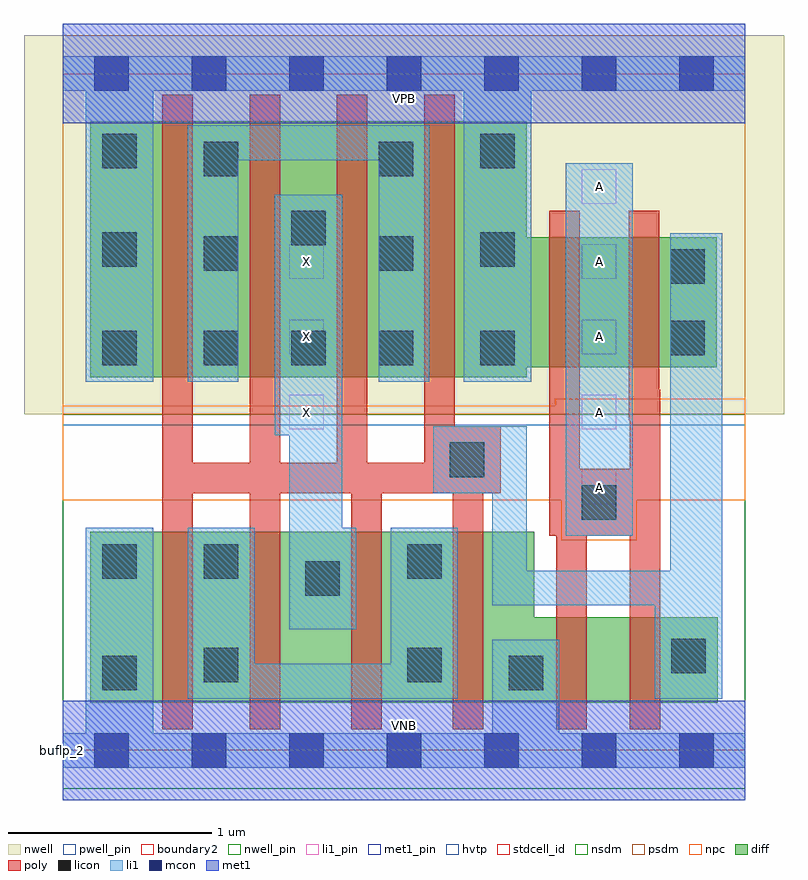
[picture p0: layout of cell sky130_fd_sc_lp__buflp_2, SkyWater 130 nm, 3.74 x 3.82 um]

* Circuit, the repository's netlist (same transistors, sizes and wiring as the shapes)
* Copyright 2020 The SkyWater PDK Authors
*
* Licensed under the Apache License, Version 2.0 (the "License");
* you may not use this file except in compliance with the License.
* You may obtain a copy of the License at
*
*     https://www.apache.org/licenses/LICENSE-2.0
*
* Unless required by applicable law or agreed to in writing, software
* distributed under the License is distributed on an "AS IS" BASIS,
* WITHOUT WARRANTIES OR CONDITIONS OF ANY KIND, either express or implied.
* See the License for the specific language governing permissions and
* limitations under the License.
*
* SPDX-License-Identifier: Apache-2.0

.SUBCKT sky130_fd_sc_lp__buflp_2 A VGND VNB VPB VPWR X
*.PININFO A:I VGND:I VNB:I VPB:I VPWR:I X:O
MMIN1 Ab A net27 VNB sky130_fd_pr__nfet_01v8 m=1 w=0.42U l=0.15U mult=1 sa=0.265
+ sb=0.265 sd=0.28 area=0.063 perim=1.14
MMIN2 X Ab net31 VNB sky130_fd_pr__nfet_01v8 m=2 w=0.84U l=0.15U mult=1 sa=0.265
+ sb=0.265 sd=0.28 area=0.063 perim=1.14
MI7 net27 A VGND VNB sky130_fd_pr__nfet_01v8 m=1 w=0.42U l=0.15U mult=1 sa=0.265
+ sb=0.265 sd=0.28 area=0.063 perim=1.14
MI6 net31 Ab VGND VNB sky130_fd_pr__nfet_01v8 m=2 w=0.84U l=0.15U mult=1 sa=0.265
+ sb=0.265 sd=0.28 area=0.063 perim=1.14
MMIP1 Ab A net43 VPB sky130_fd_pr__pfet_01v8_hvt m=1 w=0.64U l=0.15U mult=1 sa=0.265
+ sb=0.265 sd=0.28 area=0.063 perim=1.14
MMIP2 X Ab net36 VPB sky130_fd_pr__pfet_01v8_hvt m=2 w=1.26U l=0.15U mult=1 sa=0.265
+ sb=0.265 sd=0.28 area=0.063 perim=1.14
MI4 net43 A VPWR VPB sky130_fd_pr__pfet_01v8_hvt m=1 w=0.64U l=0.15U mult=1 sa=0.265
+ sb=0.265 sd=0.28 area=0.063 perim=1.14
MI5 net36 Ab VPWR VPB sky130_fd_pr__pfet_01v8_hvt m=2 w=1.26U l=0.15U mult=1 sa=0.265
+ sb=0.265 sd=0.28 area=0.063 perim=1.14
.ENDS sky130_fd_sc_lp__buflp_2

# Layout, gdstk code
import gdstk
lib = gdstk.Library(unit=1e-6, precision=1e-09)
def R(c, l, rs):  # rectangles x0, y0, x1, y1
    for r in rs: c.add(gdstk.rectangle(r[:2], r[2:], *l))
def A(c, l, x, y, w, h, nx, ny, dx, dy):  # array of equal rectangles
    R(c, l, [(x+i*dx, y+j*dy, x+i*dx+w, y+j*dy+h) for i in range(nx) for j in range(ny)])
def P(c, l, *ps):  # polygons
    for p in ps: c.add(gdstk.Polygon(p, *l))
nwell_pin = (64, 16)
nwell = (64, 20)
diff = (65, 20)
poly = (66, 20)
licon = (66, 44)
li1_pin = (67, 16)
li1 = (67, 20)
mcon = (67, 44)
met1_pin = (68, 16)
met1 = (68, 20)
hvtp = (78, 44)
stdcell_id = (81, 4)
nsdm = (93, 44)
psdm = (94, 20)
npc = (95, 20)
pwell_pin = (122, 16)
boundary2 = (236, 0)

sky130_fd_sc_lp__buflp_2 = lib.new_cell('sky130_fd_sc_lp__buflp_2')
R(sky130_fd_sc_lp__buflp_2, nwell_pin, [(0,3.085,3.36,3.33)])
R(sky130_fd_sc_lp__buflp_2, nwell, [(-0.19,1.655,3.55,3.52)])
P(sky130_fd_sc_lp__buflp_2, diff, [(3.22,2.525),(2.285,2.525),(2.285,3.095),(0.135,3.095),(0.135,1.835),(2.285,1.835),(2.285,1.885),(3.22,1.885)],
  [(3.225,0.655),(2.32,0.655),(2.32,1.075),(0.135,1.075),(0.135,0.235),(3.225,0.235)])
P(sky130_fd_sc_lp__buflp_2, poly, [(2.155,1.595),(1.93,1.595),(1.93,3.225),(1.78,3.225),(1.78,1.415),(1.5,1.415),(1.5,3.225),(1.35,3.225),(1.35,1.415),(1.07,1.415),(1.07,3.225),(0.92,3.225),(0.92,1.415),(0.64,1.415),(0.64,3.225),(0.49,3.225),(0.49,0.105),(0.64,0.105),(0.64,1.265),(0.92,1.265),(0.92,0.105),(1.07,0.105),(1.07,1.265),(1.42,1.265),(1.42,0.105),(1.57,0.105),(1.57,1.265),(1.92,1.265),(1.92,0.105),(2.07,0.105),(2.07,1.265),(2.155,1.265)],
  [(2.94,1.775),(2.935,1.775),(2.935,2.655),(2.785,2.655),(2.785,1.625),(2.79,1.625),(2.79,1.385),(2.545,1.385),(2.545,2.655),(2.395,2.655),(2.395,1.055),(2.43,1.055),(2.43,0.105),(2.58,0.105),(2.58,1.055),(2.79,1.055),(2.79,0.105),(2.94,0.105)])
A(sky130_fd_sc_lp__buflp_2, licon, 0.195, 1.895, 0.17, 0.17, 1, 3, 0, 0.485)
A(sky130_fd_sc_lp__buflp_2, licon, 0.695, 1.895, 0.17, 0.17, 3, 1, 0.43, 0)
A(sky130_fd_sc_lp__buflp_2, licon, 2.055, 1.895, 0.17, 0.17, 1, 3, 0, 0.485)
R(sky130_fd_sc_lp__buflp_2, licon, [(0.195,0.295,0.365,0.465), (2.195,0.295,2.365,0.465), (0.695,0.335,0.865,0.505), (1.695,0.335,1.865,0.505), (2.995,0.38,3.165,0.55), (1.195,0.76,1.365,0.93), (0.195,0.845,0.365,1.015), (0.695,0.845,0.865,1.015), (1.695,0.845,1.865,1.015), (2.555,1.135,2.725,1.305), (1.905,1.345,2.075,1.515), (2.99,1.945,3.16,2.115), (2.99,2.295,3.16,2.465), (0.695,2.36,0.865,2.53), (1.555,2.36,1.725,2.53), (1.125,2.485,1.295,2.655), (0.695,2.825,0.865,2.995), (1.555,2.825,1.725,2.995)])
A(sky130_fd_sc_lp__buflp_2, li1_pin, 2.555, 1.21, 0.17, 0.17, 1, 5, 0, 0.37)
A(sky130_fd_sc_lp__buflp_2, li1_pin, 1.115, 1.58, 0.17, 0.17, 1, 3, 0, 0.37)
R(sky130_fd_sc_lp__buflp_2, li1, [(2.475,1.055,2.805,2.89)])
P(sky130_fd_sc_lp__buflp_2, li1, [(1.975,1.815),(1.975,3.245),(0.445,3.245),(0.445,1.815),(0.115,1.815),(0.115,3.245),(0,3.245),(0,3.415),(3.36,3.415),(3.36,3.245),(2.305,3.245),(2.305,1.815)],
  [(2.115,0.085),(2.115,0.545),(2.445,0.545),(2.445,0.085),(3.36,0.085),(3.36,-0.085),(0,-0.085),(0,0.085),(0.115,0.085),(0.115,1.095),(0.445,1.095),(0.445,0.085)],
  [(1.115,1.55),(1.045,1.55),(1.045,2.735),(1.375,2.735),(1.375,1.095),(1.445,1.095),(1.445,0.595),(1.115,0.595)],
  [(2.285,0.885),(2.99,0.885),(2.99,2.545),(3.245,2.545),(3.245,0.255),(2.915,0.255),(2.915,0.715),(2.115,0.715),(2.115,1.265),(1.825,1.265),(1.825,1.595),(2.285,1.595)],
  [(1.615,0.425),(1.615,1.095),(1.945,1.095),(1.945,0.255),(0.615,0.255),(0.615,1.095),(0.945,1.095),(0.945,0.425)],
  [(1.555,1.815),(1.555,2.905),(0.865,2.905),(0.865,1.815),(0.615,1.815),(0.615,3.075),(1.805,3.075),(1.805,1.815)])
A(sky130_fd_sc_lp__buflp_2, mcon, 0.155, -0.085, 0.17, 0.17, 7, 2, 0.48, 3.33)
R(sky130_fd_sc_lp__buflp_2, met1_pin, [(0,0,3.36,0.245), (0,3.085,3.36,3.33)])
R(sky130_fd_sc_lp__buflp_2, met1, [(0,-0.245,3.36,0.245), (0,3.085,3.36,3.575)])
R(sky130_fd_sc_lp__buflp_2, hvtp, [(0,1.6,3.36,3.33)])
R(sky130_fd_sc_lp__buflp_2, stdcell_id, [(0,0,3.36,3.33)])
R(sky130_fd_sc_lp__buflp_2, nsdm, [(0,-0.19,3.36,1.655)])
R(sky130_fd_sc_lp__buflp_2, psdm, [(0,1.655,3.36,3.52)])
P(sky130_fd_sc_lp__buflp_2, npc, [(3.36,1.73),(2.425,1.73),(2.425,1.695),(0,1.695),(0,1.23),(2.455,1.23),(2.455,1.035),(2.825,1.035),(2.825,1.23),(3.36,1.23)])
R(sky130_fd_sc_lp__buflp_2, pwell_pin, [(0,0,3.36,0.245)])
R(sky130_fd_sc_lp__buflp_2, boundary2, [(0,0,3.36,3.33)])
sky130_fd_sc_lp__buflp_2.add(gdstk.Label('VNB', (1.68,0.123), layer=64, texttype=59))
sky130_fd_sc_lp__buflp_2.add(gdstk.Label('VPB', (1.68,3.208), layer=64, texttype=5))
sky130_fd_sc_lp__buflp_2.add(gdstk.Label('buflp_2', (0,0), layer=83, texttype=44))
sky130_fd_sc_lp__buflp_2.add(gdstk.Label('VPWR', (1.68,3.208), layer=68, texttype=5))
sky130_fd_sc_lp__buflp_2.add(gdstk.Label('VGND', (1.68,0.123), layer=68, texttype=5))
sky130_fd_sc_lp__buflp_2.add(gdstk.Label('X', (1.2,1.665), layer=67, texttype=5))
sky130_fd_sc_lp__buflp_2.add(gdstk.Label('X', (1.2,2.035), layer=67, texttype=5))
sky130_fd_sc_lp__buflp_2.add(gdstk.Label('X', (1.2,2.405), layer=67, texttype=5))
sky130_fd_sc_lp__buflp_2.add(gdstk.Label('A', (2.64,1.295), layer=67, texttype=5))
sky130_fd_sc_lp__buflp_2.add(gdstk.Label('A', (2.64,1.665), layer=67, texttype=5))
sky130_fd_sc_lp__buflp_2.add(gdstk.Label('A', (2.64,2.035), layer=67, texttype=5))
sky130_fd_sc_lp__buflp_2.add(gdstk.Label('A', (2.64,2.405), layer=67, texttype=5))
sky130_fd_sc_lp__buflp_2.add(gdstk.Label('A', (2.64,2.775), layer=67, texttype=5))

lib.write_gds('sky130_fd_sc_lp__buflp_2.gds')
